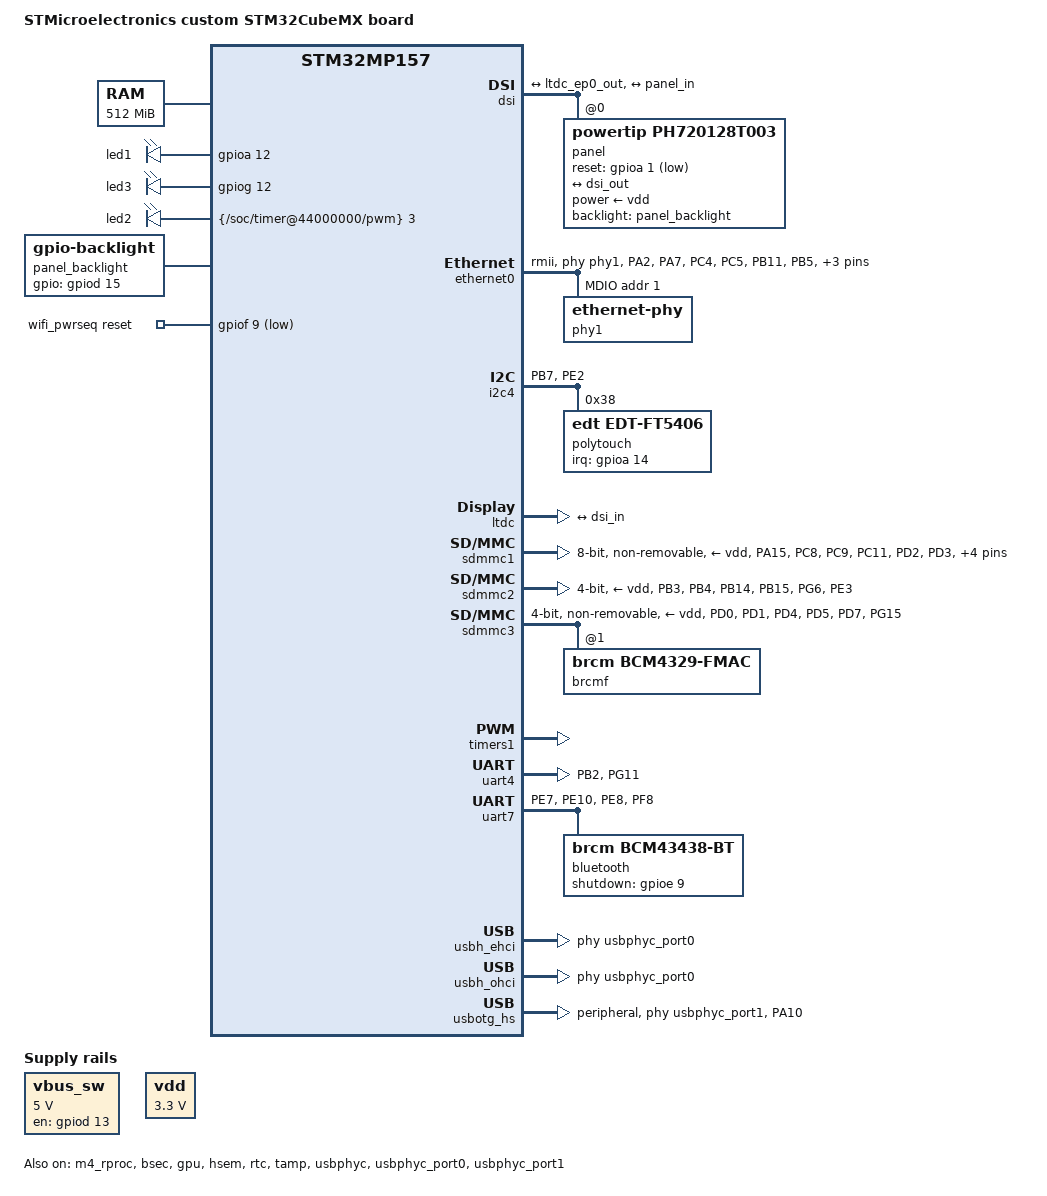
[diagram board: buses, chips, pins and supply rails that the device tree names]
/* SPDX-License-Identifier: (GPL-2.0+ OR BSD-3-Clause) */
/*
 * Copyright (C) STMicroelectronics 2020 - All Rights Reserved
 * Author: STM32CubeMX code generation for STMicroelectronics.
 */

/* For more information on Device Tree configuration, please refer to
 * https://wiki.st.com/stm32mpu/wiki/Category:Device_tree_configuration
 */

/dts-v1/;
#include <dt-bindings/pinctrl/stm32-pinfunc.h>

#include "stm32mp157.dtsi"
#include "stm32mp15xa.dtsi"
#include "stm32mp15xxab-pinctrl.dtsi"
#include "stm32mp157-m4-srm.dtsi"

/* USER CODE BEGIN includes */

#include <dt-bindings/rtc/rtc-stm32.h>

/* USER CODE END includes */

/ {
	model = "STMicroelectronics custom STM32CubeMX board";
	compatible = "st,stm32mp157a-visionsom-dsi-emmc-mx", "st,stm32mp157";

	memory@c0000000 {
		device_type = "memory";
		reg = <0xc0000000 0x20000000>;

		/* USER CODE BEGIN memory */
		/* USER CODE END memory */
	};

	reserved-memory {
		#address-cells = <1>;
		#size-cells = <1>;
		ranges;

		/* USER CODE BEGIN reserved-memory */

		fb_reserved: fb@fd000000 {
			reg = <0xfd000000 0x8000000>;
			no-map;
		};

		/* USER CODE END reserved-memory */
	};

	/* USER CODE BEGIN root */

	aliases {
		ethernet0 = &ethernet0;
		serial0 = &uart4;
		serial1 = &uart7;
		mmc0 = &sdmmc1;
		mmc1 = &sdmmc2;
		mmc2 = &sdmmc3;
	};

	chosen {
		stdout-path = "serial0:115200n8";
	};

	led {
		compatible = "gpio-leds";
		led1 {
			label = "led1";
			gpios = <&gpioa 12 GPIO_ACTIVE_HIGH>;
			linux,default-trigger = "heartbeat";
		};

		led3 {
			label = "led3";
			gpios = <&gpiog 12 GPIO_ACTIVE_HIGH>;
			default-state = "off";
		};
	};

	ledpwm {
		compatible = "pwm-leds";
		led2 {
			label = "led2";
			pwms = <&{/soc/timer@44000000/pwm} 3 500000 0>;
			max-brightness = <127>;
		};
	};

	panel_backlight: panel-backlight {
		compatible = "gpio-backlight";
		gpios = <&gpiod 15 GPIO_ACTIVE_HIGH>;
		default-on;
		status = "okay";
	};

	usb_phy_tuning: usb-phy-tuning {
		st,hs-dc-level = <2>;
		st,fs-rftime-tuning;
		st,hs-rftime-reduction;
		st,hs-current-trim = <15>;
		st,hs-impedance-trim = <1>;
		st,squelch-level = <3>;
		st,hs-rx-offset = <2>;
		st,no-lsfs-sc;
	};

	vbus_sw: regulator_vbus_sw {
		compatible = "regulator-fixed";
	        regulator-name = "usb_vbus";
	        regulator-min-microvolt = <5000000>;
	        regulator-max-microvolt = <5000000>;
		gpio = <&gpiod 13 GPIO_ACTIVE_HIGH>;
		enable-active-high;
		regulator-always-on;
	};

	vdd: regulator_vdd {
		compatible = "regulator-fixed";
		regulator-name = "vdd";
		regulator-min-microvolt = <3300000>;
		regulator-max-microvolt = <3300000>;
		enable-active-high;
		regulator-always-on;
		regulator-initial-mode = <0>;
	};

	wifi_pwrseq: wifi-pwrseq {
		compatible = "mmc-pwrseq-simple";
		reset-gpios = <&gpiof 9 GPIO_ACTIVE_LOW>;
	};

	/* USER CODE END root */

	clocks {
		/* USER CODE BEGIN clocks */
		/* USER CODE END clocks */

#ifndef CONFIG_STM32MP1_TRUSTED
		clk_lsi: clk-lsi {
			clock-frequency = <32000>;
		};
		clk_hsi: clk-hsi {
			clock-frequency = <64000000>;
		};
		clk_csi: clk-csi {
			clock-frequency = <4000000>;
		};
		clk_lse: clk-lse {
			clock-frequency = <32768>;
		};
		clk_hse: clk-hse {
			clock-frequency = <24000000>;
		};
#endif	/*CONFIG_STM32MP1_TRUSTED*/
	};

}; /*root*/

&pinctrl {
	u-boot,dm-pre-reloc;

	eth1_pins_mx: eth1_mx-0 {
		pins1 {
			pinmux = <STM32_PINMUX('A', 2, AF11)>; /* ETH1_MDIO */
			bias-pull-up;
			drive-push-pull;
			slew-rate = <0>;
		};
		pins2 {
			pinmux = <STM32_PINMUX('A', 7, AF11)>, /* ETH1_CRS_DV */
					 <STM32_PINMUX('C', 4, AF11)>, /* ETH1_RXD0 */
					 <STM32_PINMUX('C', 5, AF11)>; /* ETH1_RXD1 */
			bias-disable;
		};
		pins3 {
			pinmux = <STM32_PINMUX('B', 11, AF11)>; /* ETH1_TX_EN */
		};
		pins4 {
			pinmux = <STM32_PINMUX('B', 5, AF0)>, /* ETH1_CLK */
					 <STM32_PINMUX('B', 13, AF11)>, /* ETH1_TXD1 */
					 <STM32_PINMUX('C', 1, AF11)>, /* ETH1_MDC */
					 <STM32_PINMUX('G', 13, AF11)>; /* ETH1_TXD0 */
			bias-disable;
			drive-push-pull;
			slew-rate = <1>;
		};
	};

	eth1_sleep_pins_mx: eth1_sleep_mx-0 {
		pins {
			pinmux = <STM32_PINMUX('A', 2, ANALOG)>, /* ETH1_MDIO */
					 <STM32_PINMUX('A', 7, ANALOG)>, /* ETH1_CRS_DV */
					 <STM32_PINMUX('B', 5, ANALOG)>, /* ETH1_CLK */
					 <STM32_PINMUX('B', 11, ANALOG)>, /* ETH1_TX_EN */
					 <STM32_PINMUX('B', 13, ANALOG)>, /* ETH1_TXD1 */
					 <STM32_PINMUX('C', 1, ANALOG)>, /* ETH1_MDC */
					 <STM32_PINMUX('C', 4, ANALOG)>, /* ETH1_RXD0 */
					 <STM32_PINMUX('C', 5, ANALOG)>, /* ETH1_RXD1 */
					 <STM32_PINMUX('G', 13, ANALOG)>; /* ETH1_TXD0 */
		};
	};

	i2c4_pins_mx: i2c4_mx-0 {
		pins {
			pinmux = <STM32_PINMUX('B', 7, AF6)>, /* I2C4_SDA */
					 <STM32_PINMUX('E', 2, AF4)>; /* I2C4_SCL */
			bias-disable;
			drive-open-drain;
			slew-rate = <0>;
		};
	};

	i2c4_sleep_pins_mx: i2c4_sleep_mx-0 {
		pins {
			pinmux = <STM32_PINMUX('B', 7, ANALOG)>, /* I2C4_SDA */
					 <STM32_PINMUX('E', 2, ANALOG)>; /* I2C4_SCL */
		};
	};

	rtc_pins_mx: rtc_mx-0 {
		pins {
			pinmux = <STM32_PINMUX('C', 13, ANALOG)>; /* RTC_LSCO */
		};
	};

	rtc_sleep_pins_mx: rtc_sleep_mx-0 {
		pins {
			pinmux = <STM32_PINMUX('C', 13, ANALOG)>; /* RTC_LSCO */
		};
	};

	sdmmc1_pins_mx: sdmmc1_mx-0 {
		u-boot,dm-pre-reloc;
		pins1 {
			u-boot,dm-pre-reloc;
			pinmux = <STM32_PINMUX('A', 15, AF11)>, /* SDMMC1_D5 */
					 <STM32_PINMUX('C', 8, AF12)>, /* SDMMC1_D0 */
					 <STM32_PINMUX('C', 9, AF12)>, /* SDMMC1_D1 */
					 <STM32_PINMUX('C', 11, AF12)>, /* SDMMC1_D3 */
					 <STM32_PINMUX('D', 2, AF12)>, /* SDMMC1_CMD */
					 <STM32_PINMUX('D', 3, AF11)>, /* SDMMC1_D7 */
					 <STM32_PINMUX('E', 4, AF11)>, /* SDMMC1_D4 */
					 <STM32_PINMUX('E', 5, AF11)>, /* SDMMC1_D6 */
					 <STM32_PINMUX('E', 6, AF8)>; /* SDMMC1_D2 */
			bias-pull-up;
			drive-push-pull;
			slew-rate = <1>;
		};
		pins2 {
			u-boot,dm-pre-reloc;
			pinmux = <STM32_PINMUX('C', 12, AF12)>; /* SDMMC1_CK */
			bias-pull-up;
			drive-push-pull;
			slew-rate = <3>;
		};
	};

	sdmmc1_opendrain_pins_mx: sdmmc1_opendrain_mx-0 {
		u-boot,dm-pre-reloc;
		pins1 {
			u-boot,dm-pre-reloc;
			pinmux = <STM32_PINMUX('A', 15, AF11)>, /* SDMMC1_D5 */
					 <STM32_PINMUX('C', 8, AF12)>, /* SDMMC1_D0 */
					 <STM32_PINMUX('C', 9, AF12)>, /* SDMMC1_D1 */
					 <STM32_PINMUX('C', 11, AF12)>, /* SDMMC1_D3 */
					 <STM32_PINMUX('D', 3, AF11)>, /* SDMMC1_D7 */
					 <STM32_PINMUX('E', 4, AF11)>, /* SDMMC1_D4 */
					 <STM32_PINMUX('E', 5, AF11)>, /* SDMMC1_D6 */
					 <STM32_PINMUX('E', 6, AF8)>; /* SDMMC1_D2 */
			bias-pull-up;
			drive-push-pull;
			slew-rate = <1>;
		};
		pins2 {
			u-boot,dm-pre-reloc;
			pinmux = <STM32_PINMUX('C', 12, AF12)>; /* SDMMC1_CK */
			bias-pull-up;
			drive-push-pull;
			slew-rate = <3>;
		};
		pins3 {
			u-boot,dm-pre-reloc;
			pinmux = <STM32_PINMUX('D', 2, AF12)>; /* SDMMC1_CMD */
			bias-pull-up;
			drive-open-drain;
			slew-rate = <1>;
		};
	};

	sdmmc1_sleep_pins_mx: sdmmc1_sleep_mx-0 {
		u-boot,dm-pre-reloc;
		pins {
			u-boot,dm-pre-reloc;
			pinmux = <STM32_PINMUX('A', 15, ANALOG)>, /* SDMMC1_D5 */
					 <STM32_PINMUX('C', 8, ANALOG)>, /* SDMMC1_D0 */
					 <STM32_PINMUX('C', 9, ANALOG)>, /* SDMMC1_D1 */
					 <STM32_PINMUX('C', 11, ANALOG)>, /* SDMMC1_D3 */
					 <STM32_PINMUX('C', 12, ANALOG)>, /* SDMMC1_CK */
					 <STM32_PINMUX('D', 2, ANALOG)>, /* SDMMC1_CMD */
					 <STM32_PINMUX('D', 3, ANALOG)>, /* SDMMC1_D7 */
					 <STM32_PINMUX('E', 4, ANALOG)>, /* SDMMC1_D4 */
					 <STM32_PINMUX('E', 5, ANALOG)>, /* SDMMC1_D6 */
					 <STM32_PINMUX('E', 6, ANALOG)>; /* SDMMC1_D2 */
		};
	};

	sdmmc2_pins_mx: sdmmc2_mx-0 {
		u-boot,dm-pre-reloc;
		pins1 {
			u-boot,dm-pre-reloc;
			pinmux = <STM32_PINMUX('B', 3, AF9)>, /* SDMMC2_D2 */
					 <STM32_PINMUX('B', 4, AF9)>, /* SDMMC2_D3 */
					 <STM32_PINMUX('B', 14, AF9)>, /* SDMMC2_D0 */
					 <STM32_PINMUX('B', 15, AF9)>, /* SDMMC2_D1 */
					 <STM32_PINMUX('G', 6, AF10)>; /* SDMMC2_CMD */
			bias-pull-up;
			drive-push-pull;
			slew-rate = <1>;
		};
		pins2 {
			u-boot,dm-pre-reloc;
			pinmux = <STM32_PINMUX('E', 3, AF9)>; /* SDMMC2_CK */
			bias-pull-up;
			drive-push-pull;
			slew-rate = <3>;
		};
	};

	sdmmc2_opendrain_pins_mx: sdmmc2_opendrain_mx-0 {
		u-boot,dm-pre-reloc;
		pins1 {
			u-boot,dm-pre-reloc;
			pinmux = <STM32_PINMUX('B', 3, AF9)>, /* SDMMC2_D2 */
					 <STM32_PINMUX('B', 4, AF9)>, /* SDMMC2_D3 */
					 <STM32_PINMUX('B', 14, AF9)>, /* SDMMC2_D0 */
					 <STM32_PINMUX('B', 15, AF9)>; /* SDMMC2_D1 */
			bias-pull-up;
			drive-push-pull;
			slew-rate = <1>;
		};
		pins2 {
			u-boot,dm-pre-reloc;
			pinmux = <STM32_PINMUX('E', 3, AF9)>; /* SDMMC2_CK */
			bias-pull-up;
			drive-push-pull;
			slew-rate = <3>;
		};
		pins3 {
			u-boot,dm-pre-reloc;
			pinmux = <STM32_PINMUX('G', 6, AF10)>; /* SDMMC2_CMD */
			bias-pull-up;
			drive-open-drain;
			slew-rate = <1>;
		};
	};

	sdmmc2_sleep_pins_mx: sdmmc2_sleep_mx-0 {
		u-boot,dm-pre-reloc;
		pins {
			u-boot,dm-pre-reloc;
			pinmux = <STM32_PINMUX('B', 3, ANALOG)>, /* SDMMC2_D2 */
					 <STM32_PINMUX('B', 4, ANALOG)>, /* SDMMC2_D3 */
					 <STM32_PINMUX('B', 14, ANALOG)>, /* SDMMC2_D0 */
					 <STM32_PINMUX('B', 15, ANALOG)>, /* SDMMC2_D1 */
					 <STM32_PINMUX('E', 3, ANALOG)>, /* SDMMC2_CK */
					 <STM32_PINMUX('G', 6, ANALOG)>; /* SDMMC2_CMD */
		};
	};

	sdmmc3_pins_mx: sdmmc3_mx-0 {
		pins1 {
			pinmux = <STM32_PINMUX('D', 0, AF10)>, /* SDMMC3_CMD */
					 <STM32_PINMUX('D', 1, AF10)>, /* SDMMC3_D0 */
					 <STM32_PINMUX('D', 4, AF10)>, /* SDMMC3_D1 */
					 <STM32_PINMUX('D', 5, AF10)>, /* SDMMC3_D2 */
					 <STM32_PINMUX('D', 7, AF10)>; /* SDMMC3_D3 */
			bias-disable;
			drive-push-pull;
			slew-rate = <1>;
		};
		pins2 {
			pinmux = <STM32_PINMUX('G', 15, AF10)>; /* SDMMC3_CK */
			bias-disable;
			drive-push-pull;
			slew-rate = <3>;
		};
	};

	sdmmc3_opendrain_pins_mx: sdmmc3_opendrain_mx-0 {
		pins1 {
			pinmux = <STM32_PINMUX('D', 0, AF10)>; /* SDMMC3_CMD */
			bias-disable;
			drive-open-drain;
			slew-rate = <1>;
		};
		pins2 {
			pinmux = <STM32_PINMUX('D', 1, AF10)>, /* SDMMC3_D0 */
					 <STM32_PINMUX('D', 4, AF10)>, /* SDMMC3_D1 */
					 <STM32_PINMUX('D', 5, AF10)>, /* SDMMC3_D2 */
					 <STM32_PINMUX('D', 7, AF10)>; /* SDMMC3_D3 */
			bias-disable;
			drive-push-pull;
			slew-rate = <1>;
		};
		pins3 {
			pinmux = <STM32_PINMUX('G', 15, AF10)>; /* SDMMC3_CK */
			bias-disable;
			drive-push-pull;
			slew-rate = <3>;
		};
	};

	sdmmc3_sleep_pins_mx: sdmmc3_sleep_mx-0 {
		pins {
			pinmux = <STM32_PINMUX('D', 0, ANALOG)>, /* SDMMC3_CMD */
					 <STM32_PINMUX('D', 1, ANALOG)>, /* SDMMC3_D0 */
					 <STM32_PINMUX('D', 4, ANALOG)>, /* SDMMC3_D1 */
					 <STM32_PINMUX('D', 5, ANALOG)>, /* SDMMC3_D2 */
					 <STM32_PINMUX('D', 7, ANALOG)>, /* SDMMC3_D3 */
					 <STM32_PINMUX('G', 15, ANALOG)>; /* SDMMC3_CK */
		};
	};

	tim1_pwm_pins_mx: tim1_pwm_mx-0 {
		pins {
			pinmux = <STM32_PINMUX('A', 11, AF1)>; /* TIM1_CH4 */
			bias-disable;
			drive-push-pull;
			slew-rate = <0>;
		};
	};

	tim1_pwm_sleep_pins_mx: tim1_pwm_sleep_mx-0 {
		pins {
			pinmux = <STM32_PINMUX('A', 11, ANALOG)>; /* TIM1_CH4 */
		};
	};

	uart4_pins_mx: uart4_mx-0 {
		u-boot,dm-pre-reloc;
		pins1 {
			u-boot,dm-pre-reloc;
			pinmux = <STM32_PINMUX('B', 2, AF8)>; /* UART4_RX */
			bias-disable;
		};
		pins2 {
			u-boot,dm-pre-reloc;
			pinmux = <STM32_PINMUX('G', 11, AF6)>; /* UART4_TX */
			bias-disable;
			drive-push-pull;
			slew-rate = <0>;
		};
	};

	uart4_sleep_pins_mx: uart4_sleep_mx-0 {
		u-boot,dm-pre-reloc;
		pins {
			u-boot,dm-pre-reloc;
			pinmux = <STM32_PINMUX('B', 2, ANALOG)>, /* UART4_RX */
					 <STM32_PINMUX('G', 11, ANALOG)>; /* UART4_TX */
		};
	};

	uart7_pins_mx: uart7_mx-0 {
		pins1 {
			pinmux = <STM32_PINMUX('E', 7, AF7)>, /* UART7_RX */
					 <STM32_PINMUX('E', 10, AF7)>; /* UART7_CTS */
			bias-disable;
		};
		pins2 {
			pinmux = <STM32_PINMUX('E', 8, AF7)>, /* UART7_TX */
					 <STM32_PINMUX('F', 8, AF7)>; /* UART7_RTS */
			bias-disable;
			drive-push-pull;
			slew-rate = <0>;
		};
	};

	uart7_sleep_pins_mx: uart7_sleep_mx-0 {
		pins {
			pinmux = <STM32_PINMUX('E', 7, ANALOG)>, /* UART7_RX */
					 <STM32_PINMUX('E', 8, ANALOG)>, /* UART7_TX */
					 <STM32_PINMUX('E', 10, ANALOG)>, /* UART7_CTS */
					 <STM32_PINMUX('F', 8, ANALOG)>; /* UART7_RTS */
		};
	};

	usb_otg_hs_pins_mx: usb_otg_hs_mx-0 {
		pins {
			pinmux = <STM32_PINMUX('A', 10, ANALOG)>; /* USB_OTG_HS_ID */
		};
	};

	usb_otg_hs_sleep_pins_mx: usb_otg_hs_sleep_mx-0 {
		pins {
			pinmux = <STM32_PINMUX('A', 10, ANALOG)>; /* USB_OTG_HS_ID */
		};
	};

	/* USER CODE BEGIN pinctrl */

	pinctrl_edt_ft5x06_mx: pinctrl_edt_ft5x06_mx-0 {
		pins {
			pinmux = <STM32_PINMUX('A', 14, GPIO)>;
			bias-disable;
			drive-push-pull;
			slew-rate = <0>;
		};
	};

	/* USER CODE END pinctrl */
};

&pinctrl_z {
	u-boot,dm-pre-reloc;

	/* USER CODE BEGIN pinctrl_z */
	/* USER CODE END pinctrl_z */
};

&m4_rproc{
	status = "okay";

	/* USER CODE BEGIN m4_rproc */
	/* USER CODE END m4_rproc */

	m4_system_resources{
		status = "okay";

		/* USER CODE BEGIN m4_system_resources */
		/* USER CODE END m4_system_resources */
	};
};

&bsec{
	status = "okay";

	/* USER CODE BEGIN bsec */
	/* USER CODE END bsec */
};

&dma1{
	status = "okay";

	/* USER CODE BEGIN dma1 */
	/* USER CODE END dma1 */
};

&dma2{
	status = "disabled";

	/* USER CODE BEGIN dma2 */
	/* USER CODE END dma2 */
};

&dmamux1{

	dma-masters = <&dma1>;
	dma-channels = <8>;

	status = "okay";

	/* USER CODE BEGIN dmamux1 */
	/* USER CODE END dmamux1 */
};

&dsi{
	status = "okay";

	/* USER CODE BEGIN dsi */

	#address-cells = <1>;
	#size-cells = <0>;

	ports {
		#address-cells = <1>;
		#size-cells = <0>;

		port@0 {
			reg = <0>;
			dsi_in: endpoint {
				remote-endpoint = <&ltdc_ep0_out>;
			};
		};

		port@1 {
			reg = <1>;
			dsi_out: endpoint {
				remote-endpoint = <&panel_in>;
			};
		};
	};

	panel@0 {
		compatible = "powertip,ph720128t003";
		reg = <0>;
		reset-gpios = <&gpioa 1 GPIO_ACTIVE_LOW>;
		power-supply = <&vdd>;
		backlight = <&panel_backlight>;
		status = "okay";

		port {
			panel_in: endpoint {
				remote-endpoint = <&dsi_out>;
			};
		};
	};

	/* USER CODE END dsi */
};

&ethernet0{
	pinctrl-names = "default", "sleep";
	pinctrl-0 = <&eth1_pins_mx>;
	pinctrl-1 = <&eth1_sleep_pins_mx>;
	status = "okay";

	/* USER CODE BEGIN ethernet0 */

	phy-mode = "rmii";
	max-speed = <100>;
	phy-handle = <&phy1>;
	st,eth-ref-clk-sel;
	clock-names = "stmmaceth",
		"eth-ck",
		"mac-clk-tx",
		"mac-clk-rx",
		"ethstp";
	clocks = <&rcc ETHMAC>,
		<&rcc ETHCK_K>,
		<&rcc ETHTX>,
		<&rcc ETHRX>,
		<&rcc ETHSTP>;

	mdio0 {
		#address-cells = <1>;
		#size-cells = <0>;
		compatible = "snps,dwmac-mdio";
		phy1: ethernet-phy@1 {
			reg = <1>;
			clocks = <&rcc ETHCK_K>;
			clock-names = "rmii-ref";
		};
	};

	/* USER CODE END ethernet0 */
};

&gpu{
	status = "okay";

	/* USER CODE BEGIN gpu */
	/* USER CODE END gpu */
};

&hsem{
	status = "okay";

	/* USER CODE BEGIN hsem */
	/* USER CODE END hsem */
};

&i2c4{
	pinctrl-names = "default", "sleep";
	pinctrl-0 = <&i2c4_pins_mx>;
	pinctrl-1 = <&i2c4_sleep_pins_mx>;
	status = "okay";

	/* USER CODE BEGIN i2c4 */

	polytouch: edt-ft5x06@38 {
		compatible = "edt,edt-ft5406", "edt,edt-ft5x06";
		reg = <0x38>;
		pinctrl-names = "default";
		pinctrl-0 = <&pinctrl_edt_ft5x06_mx>;
		interrupt-parent = <&gpioa>;
		interrupts = <14 IRQ_TYPE_EDGE_FALLING>;
		#reset-gpios = <&gpioa 1 GPIO_ACTIVE_LOW>;

		touchscreen-size-x = <720>;
		touchscreen-size-y = <1280>;
	};

	/* USER CODE END i2c4 */
};

&ltdc{
	status = "okay";

	/* USER CODE BEGIN ltdc */

	port {
		#address-cells = <1>;
		#size-cells = <0>;

		ltdc_ep0_out: endpoint@0 {
			reg = <0>;
			remote-endpoint = <&dsi_in>;
		};
	};

	/* USER CODE END ltdc */
};

&m4_dma2{
	status = "okay";

	/* USER CODE BEGIN m4_dma2 */
	/* USER CODE END m4_dma2 */
};

&mdma1{
	status = "okay";

	/* USER CODE BEGIN mdma1 */
	/* USER CODE END mdma1 */
};

&rcc{
	u-boot,dm-pre-reloc;
	status = "okay";

	/* USER CODE BEGIN rcc */
	/* USER CODE END rcc */
};

&rtc{
	pinctrl-names = "default", "sleep";
	pinctrl-0 = <&rtc_pins_mx>;
	pinctrl-1 = <&rtc_sleep_pins_mx>;
	status = "okay";

	/* USER CODE BEGIN rtc */

	st,lsco = <RTC_OUT1>;

	/* USER CODE END rtc */
};

&sdmmc1{
	u-boot,dm-pre-reloc;
	pinctrl-names = "default", "opendrain", "sleep";
	pinctrl-0 = <&sdmmc1_pins_mx>;
	pinctrl-1 = <&sdmmc1_opendrain_pins_mx>;
	pinctrl-2 = <&sdmmc1_sleep_pins_mx>;
	status = "okay";

	/* USER CODE BEGIN sdmmc1 */

	non-removable;
	no-sd;
	no-sdio;
	st,neg-edge;
	bus-width = <8>;
	vmmc-supply = <&vdd>;
	vqmmc-supply = <&vdd>;
	mmc-ddr-3_3v;

	/* USER CODE END sdmmc1 */
};

&sdmmc2{
	u-boot,dm-pre-reloc;
	pinctrl-names = "default", "opendrain", "sleep";
	pinctrl-0 = <&sdmmc2_pins_mx>;
	pinctrl-1 = <&sdmmc2_opendrain_pins_mx>;
	pinctrl-2 = <&sdmmc2_sleep_pins_mx>;
	status = "okay";

	/* USER CODE BEGIN sdmmc2 */

	broken-cd;
	st,neg-edge;
	bus-width = <4>;
	vmmc-supply = <&vdd>;

	/* USER CODE END sdmmc2 */
};

&sdmmc3{
	pinctrl-names = "default", "opendrain", "sleep";
	pinctrl-0 = <&sdmmc3_pins_mx>;
	pinctrl-1 = <&sdmmc3_opendrain_pins_mx>;
	pinctrl-2 = <&sdmmc3_sleep_pins_mx>;
	status = "okay";

	/* USER CODE BEGIN sdmmc3 */

	arm,primecell-periphid = <0x10153180>;
	non-removable;
	st,neg-edge;
	bus-width = <4>;
	vmmc-supply = <&vdd>;
	mmc-pwrseq = <&wifi_pwrseq>;
        #address-cells = <1>;
        #size-cells = <0>;
	keep-power-in-suspend;

	brcmf: bcrmf@1 {
		reg = <1>;
		compatible = "brcm,bcm4329-fmac";
	};

	/* USER CODE END sdmmc3 */
};

&tamp{
	status = "okay";

	/* USER CODE BEGIN tamp */
	/* USER CODE END tamp */
};

&timers1{
	status = "okay";

	/* USER CODE BEGIN timers1 */

	/delete-property/dmas;
	/delete-property/dma-names;

	/* USER CODE END timers1 */

	pwm{
		pinctrl-names = "default", "sleep";
		pinctrl-0 = <&tim1_pwm_pins_mx>;
		pinctrl-1 = <&tim1_pwm_sleep_pins_mx>;
		status = "okay";

		/* USER CODE BEGIN timers1_pwm */
		/* USER CODE END timers1_pwm */
	};
};

&uart4{
	u-boot,dm-pre-reloc;
	pinctrl-names = "default", "sleep";
	pinctrl-0 = <&uart4_pins_mx>;
	pinctrl-1 = <&uart4_sleep_pins_mx>;
	status = "okay";

	/* USER CODE BEGIN uart4 */

	/delete-property/dmas;
	/delete-property/dma-names;

	/* USER CODE END uart4 */
};

&uart7{
	pinctrl-names = "default", "sleep";
	pinctrl-0 = <&uart7_pins_mx>;
	pinctrl-1 = <&uart7_sleep_pins_mx>;
	status = "okay";

	/* USER CODE BEGIN uart7 */

	u-boot,dm-pre-reloc;
	uart-has-rtscts;

	bluetooth {
		shutdown-gpios = <&gpioe 9 GPIO_ACTIVE_HIGH>;
		compatible = "brcm,bcm43438-bt";
		max-speed = <3000000>;
	};

	/* USER CODE END uart7 */
};

&usbh_ehci{
	status = "okay";

	/* USER CODE BEGIN usbh_ehci */

	phys = <&usbphyc_port0>;
	phy-names = "usb";

	/* USER CODE END usbh_ehci */
};

&usbh_ohci{
	status = "okay";

	/* USER CODE BEGIN usbh_ohci */

	phys = <&usbphyc_port0>;
	phy-names = "usb";

	/* USER CODE END usbh_ohci */
};

&usbotg_hs{
	pinctrl-names = "default", "sleep";
	pinctrl-0 = <&usb_otg_hs_pins_mx>;
	pinctrl-1 = <&usb_otg_hs_sleep_pins_mx>;
	status = "okay";

	/* USER CODE BEGIN usbotg_hs */

	dr_mode = "peripheral";
	force-b-session-valid;
	phys = <&usbphyc_port1 0>;
	phy-names = "usb2-phy";

	/* USER CODE END usbotg_hs */
};

&usbphyc{
	status = "okay";

	/* USER CODE BEGIN usbphyc */
	/* USER CODE END usbphyc */
};

&usbphyc_port0{
	status = "okay";

	/* USER CODE BEGIN usbphyc_port0 */

	phy-supply = <&vdd>;
	st,phy-tuning = <&usb_phy_tuning>;

	/* USER CODE END usbphyc_port0 */
};

&usbphyc_port1{
	status = "okay";

	/* USER CODE BEGIN usbphyc_port1 */

	phy-supply = <&vdd>;
	st,phy-tuning = <&usb_phy_tuning>;

	/* USER CODE END usbphyc_port1 */
};

/* USER CODE BEGIN addons */
/* USER CODE END addons */

